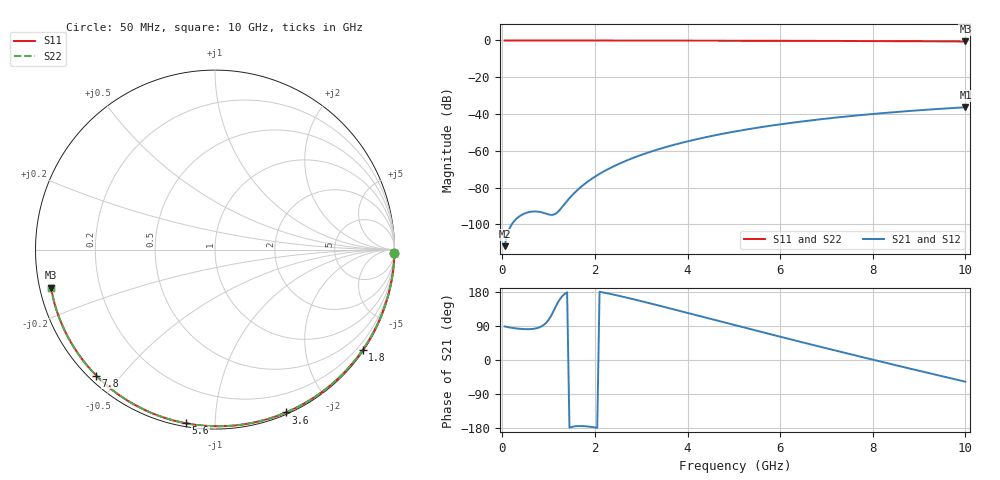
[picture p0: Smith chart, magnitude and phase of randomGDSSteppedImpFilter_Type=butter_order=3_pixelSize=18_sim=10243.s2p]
! freq	dB(S11)	phase(S11)	dB(S12)	phase(S12)
!  dB(S21)	phase(S21)	dB(S22)	phase(S22)
!S-par simulation data
#  GHz  S  DB  R 50
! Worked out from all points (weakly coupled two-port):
!   200 points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, 50 MHz to 10 GHz, reference 50 ohm
!   highest |S21| = -36.32 dB at 10 GHz (marker M1); lowest = -111.8 dB at 50 MHz (marker M2)
!   lowest |S11| = -0.6 dB at 10 GHz (marker M3), VSWR 31.30, Z = 1.62 - j5.7 ohm
!   |S11| at or under -10 dB: nowhere
!   |S22| runs from -0.6 to 0.0 dB; largest |S21 - S12| = 0
!   S11 on the Smith chart (normalised r, x): 50 MHz: open; 1.8 GHz: 0.03, -3.25; 3.6 GHz: 0.02, -1.53; 5.6 GHz: 0.02, -0.85; 7.8 GHz: 0.02, -0.43; 10 GHz: 0.03, -0.11
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0.05  -0.00 -1.0  -111.80 88.6  -111.80 88.6  -0.00 -1.0
0.45  -0.01 -8.7  -94.40 81.7  -94.40 81.7  -0.01 -8.7
0.85  -0.02 -16.3  -93.41 89.0  -93.41 89.0  -0.02 -16.3
1.65  -0.04 -31.4  -80.67 -174.3  -80.67 -174.3  -0.04 -31.4
1.7  -0.04 -32.3  -79.57 -174.3  -79.57 -174.3  -0.04 -32.3
1.75  -0.04 -33.3  -78.54 -174.5  -78.54 -174.5  -0.04 -33.3
1.8  -0.04 -34.2  -77.56 -174.9  -77.56 -174.9  -0.04 -34.2
2.1  -0.05 -39.7  -72.50 180.0  -72.50 180.0  -0.05 -39.7
2.3  -0.06 -43.4  -69.72 175.2  -69.72 175.2  -0.06 -43.4
2.5  -0.06 -47.0  -67.28 169.9  -67.28 169.9  -0.06 -47.0
2.9  -0.07 -54.2  -63.13 158.3  -63.13 158.3  -0.07 -54.2
3.4  -0.08 -63.0  -58.92 143.1  -58.92 143.1  -0.08 -63.0
3.6  -0.09 -66.5  -57.46 136.8  -57.46 136.8  -0.09 -66.5
4.3  -0.11 -78.4  -53.09 114.8  -53.09 114.8  -0.11 -78.4
5.05  -0.14 -90.7  -49.35 91.1  -49.35 91.1  -0.14 -90.7
5.6  -0.17 -99.5  -47.07 73.9  -47.07 73.9  -0.17 -99.5
6.15  -0.19 -108.1  -45.08 56.8  -45.08 56.8  -0.19 -108.1
6.7  -0.23 -116.6  -43.33 40.0  -43.33 40.0  -0.23 -116.6
7.8  -0.31 -133.3  -40.42 6.8  -40.42 6.8  -0.31 -133.3
8.35  -0.36 -141.6  -39.20 -9.5  -39.20 -9.5  -0.36 -141.6
9.2  -0.45 -154.5  -37.58 -34.3  -37.58 -34.3  -0.45 -154.5
10  -0.56 -167.0  -36.32 -57.3  -36.32 -57.3  -0.56 -167.0
